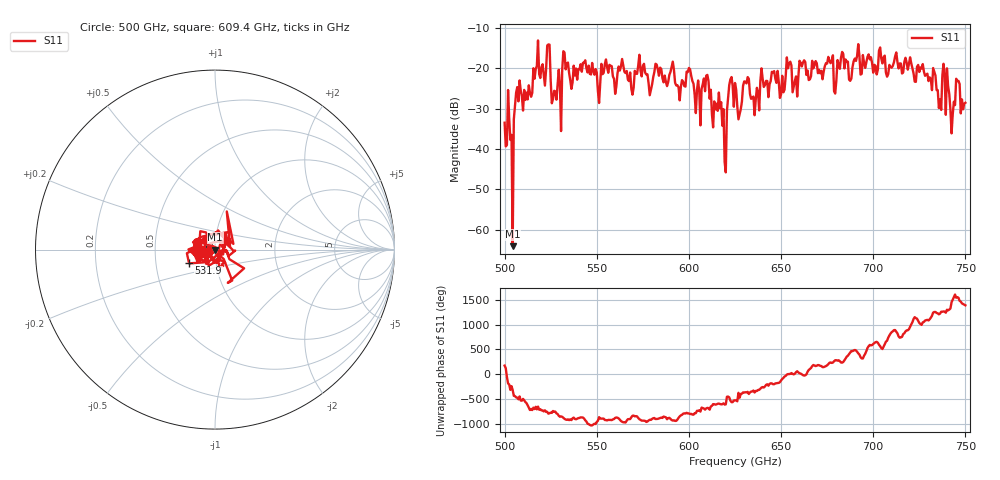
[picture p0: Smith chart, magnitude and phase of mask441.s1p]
!Created with skrf (http://scikit-rf.org).
# GHz S MA R 50.0
!freq magS11 angS11
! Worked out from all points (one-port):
!   401 points, 500 GHz to 750 GHz, reference 50 ohm
!   lowest |S11| = -64.1 dB at 504.4 GHz (marker M1), VSWR 1.00, Z = 50 + j0.044 ohm
!   |S11| at or under -10 dB: start of sweep to end of sweep
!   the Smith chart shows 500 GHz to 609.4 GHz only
!   S11 on the Smith chart (normalised r, x): 500 GHz: 0.96, +0.00; 531.9 GHz: 0.74, -0.12; 609.4 GHz: 1.13, +0.11
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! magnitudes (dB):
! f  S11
! 500 GHz  -33.5
! 504.4 GHz  -64.1
! 506.9 GHz  -24.6
! 513.8 GHz  -26.1
! 516.9 GHz  -20.2
! 523.8 GHz  -14.0
! 526.9 GHz  -25.5
! 531.2 GHz  -20.3
! 531.9 GHz  -15.7
! 562.5 GHz  -20.5
! 593.8 GHz  -24.2
! 600 GHz  -19.9
! 605 GHz  -23.0
! 609.4 GHz  -21.8
! 617.5 GHz  -28.4
! 619.4 GHz  -43.2
! 622.5 GHz  -22.7
! 625 GHz  -23.6
! 627.5 GHz  -31.4
! 631.2 GHz  -23.7
! 656.2 GHz  -25.9
! 687.5 GHz  -23.1
! 718.8 GHz  -20.3
! 735.6 GHz  -29.8
! 738.8 GHz  -21.6
! 743.1 GHz  -31.4
! 745.6 GHz  -23.1
! 750 GHz  -28.5
